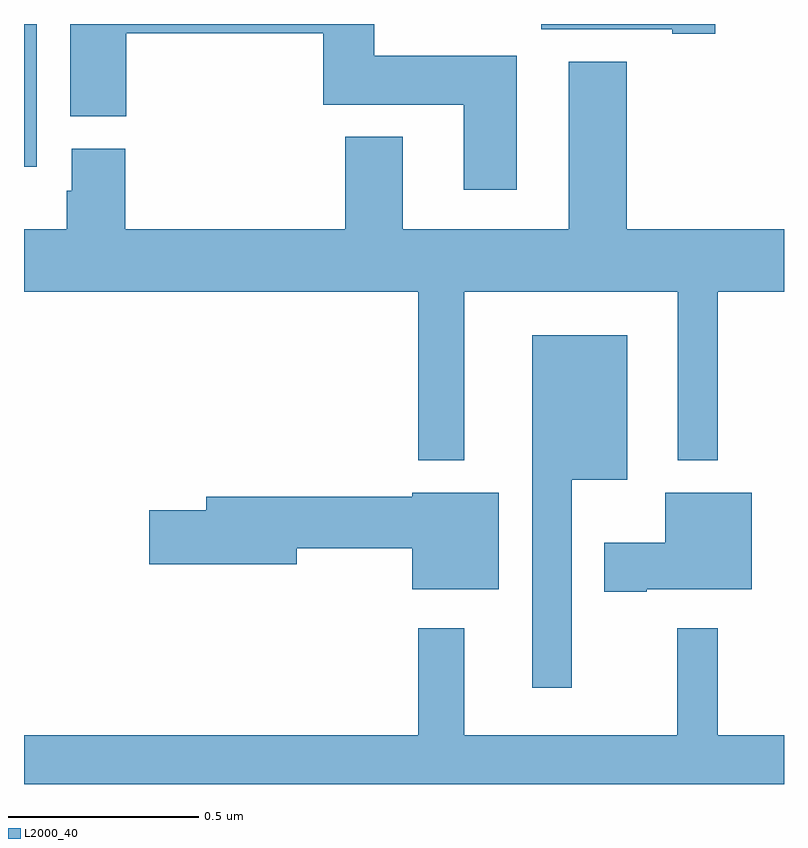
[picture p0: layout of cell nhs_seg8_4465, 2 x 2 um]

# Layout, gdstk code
import gdstk
lib = gdstk.Library(unit=1e-6, precision=1e-09)
def R(c, l, rs):  # rectangles x0, y0, x1, y1
    for r in rs: c.add(gdstk.rectangle(r[:2], r[2:], *l))
def P(c, l, *ps):  # polygons
    for p in ps: c.add(gdstk.Polygon(p, *l))
L2000_40 = (2000, 40)

nhs_seg8_4465 = lib.new_cell('nhs_seg8_4465')
R(nhs_seg8_4465, L2000_40, [(171,1087.524,171.034,1087.9)])
P(nhs_seg8_4465, L2000_40, [(172.819,1087.9),(172.361,1087.9),(172.361,1087.886),(172.706,1087.886),(172.706,1087.874),(172.819,1087.874)],
  [(172.297,1087.816),(171.922,1087.816),(171.922,1087.9),(171.122,1087.9),(171.122,1087.657),(171.269,1087.657),(171.269,1087.876),(171.788,1087.876),(171.788,1087.688),(172.157,1087.688),(172.157,1087.464),(172.297,1087.464)],
  [(172.159,1087.196),(172.721,1087.196),(172.721,1086.752),(172.825,1086.752),(172.825,1087.196),(173,1087.196),(173,1087.36),(172.586,1087.36),(172.586,1087.801),(172.433,1087.801),(172.433,1087.36),(171.997,1087.36),(171.997,1087.603),(171.845,1087.603),(171.845,1087.36),(171.266,1087.36),(171.266,1087.572),(171.125,1087.572),(171.125,1087.461),(171.113,1087.461),(171.113,1087.36),(171,1087.36),(171,1087.196),(172.038,1087.196),(172.038,1086.752),(172.159,1086.752)],
  [(172.441,1086.701),(172.588,1086.701),(172.588,1087.081),(172.337,1087.081),(172.337,1086.153),(172.441,1086.153)],
  [(172.639,1086.413),(172.915,1086.413),(172.915,1086.667),(172.688,1086.667),(172.688,1086.535),(172.527,1086.535),(172.527,1086.406),(172.639,1086.406)],
  [(172.249,1086.667),(172.022,1086.667),(172.022,1086.656),(171.479,1086.656),(171.479,1086.62),(171.33,1086.62),(171.33,1086.478),(171.718,1086.478),(171.718,1086.52),(172.022,1086.52),(172.022,1086.413),(172.249,1086.413)],
  [(173,1086.028),(172.825,1086.028),(172.825,1086.31),(172.719,1086.31),(172.719,1086.028),(172.159,1086.028),(172.159,1086.31),(172.038,1086.31),(172.038,1086.028),(171,1086.028),(171,1085.9),(173,1085.9)])

lib.write_gds('nhs_seg8_4465.gds')
